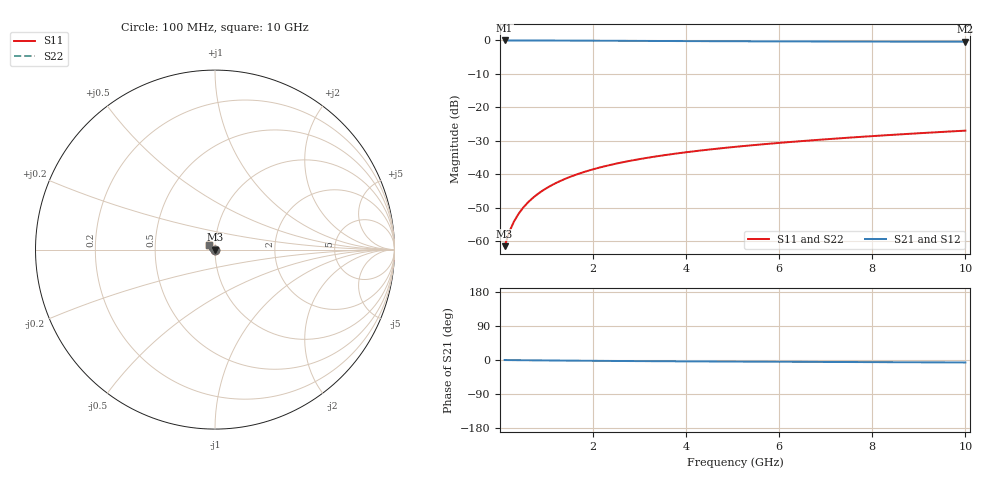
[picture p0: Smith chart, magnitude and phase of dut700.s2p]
! Touchstone file exported from HFSS 2024.1.0
!  File:  C:/UserFiles/LocalFiles/RDL_TSV_Batchsim/temp_TSV1_700_1779866344.aedt
!  Generated:  03:26:09 PM May 27, 2026
!  Design:  TSV1
!  Project:  temp_TSV1_700_1779866344
!  Setup:  Setup1
!  Solution:  Sweep
! Variables:
!  dtsv = 5.33um
!  hbump = 3um
!  htsv = 99.35um
!  lrdl = 252.1521522um
!  p = 40
!  p1 = 47.33um
!  t = 500um
!  trdl = 3um
!  wrdl = 24.89489489um
# GHz S MA R 50.000000
! Terminal data exported
! Port[1] = TSV22_T1
! Port[2] = TSV22_T2
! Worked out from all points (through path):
!   100 points, 100 MHz to 10 GHz, reference 50 ohm
!   highest |S21| = -0.01 dB at 100 MHz (marker M1); lowest = -0.4 dB at 10 GHz (marker M2)
!   lowest |S11| = -61.6 dB at 100 MHz (marker M3), VSWR 1.00, Z = 50.1 - j0.0633 ohm
!   |S11| at or under -10 dB: start of sweep to end of sweep
!   |S22| runs from -61.6 to -27.0 dB; largest |S21 - S12| = 3.3e-15
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0.1  0.0008348 -49.2  0.9994 -0.1  0.9994 -0.1  0.0008348 -49.2
! Gamma 0 0 0 0
! Port Impedance 50 0 50 0
0.2  0.001364 -69.5  0.9993 -0.2  0.9993 -0.2  0.001364 -69.5
0.3  0.001949 -79.4  0.9992 -0.4  0.9992 -0.4  0.001949 -79.4
0.4  0.002549 -85.8  0.999 -0.5  0.999 -0.5  0.002549 -85.8
0.5  0.003154 -90.5  0.9988 -0.6  0.9988 -0.6  0.003154 -90.5
0.6  0.00376 -94.5  0.9985 -0.7  0.9985 -0.7  0.00376 -94.5
0.7  0.004365 -97.9  0.9982 -0.8  0.9982 -0.8  0.004365 -97.9
0.8  0.004967 -101.0  0.9979 -0.9  0.9979 -0.9  0.004967 -101.0
0.9  0.005566 -103.9  0.9975 -1.0  0.9975 -1.0  0.005566 -103.9
1.1  0.00675 -109.2  0.9966 -1.3  0.9966 -1.3  0.00675 -109.2
1.4  0.008486 -116.5  0.995 -1.6  0.995 -1.6  0.008486 -116.5
1.6  0.009613 -121.0  0.9938 -1.8  0.9938 -1.8  0.009613 -121.0
1.8  0.01071 -125.4  0.9925 -2.0  0.9925 -2.0  0.01071 -125.4
2.1  0.01231 -131.5  0.9905 -2.2  0.9905 -2.2  0.01231 -131.5
2.5  0.01435 -139.2  0.9877 -2.6  0.9877 -2.6  0.01435 -139.2
2.9  0.0163 -146.4  0.9849 -2.9  0.9849 -2.9  0.0163 -146.4
3.4  0.0186 -154.6  0.9815 -3.2  0.9815 -3.2  0.0186 -154.6
4.2  0.02207 -166.3  0.9765 -3.7  0.9765 -3.7  0.02207 -166.3
5.1  0.02575 -177.5  0.9717 -4.2  0.9717 -4.2  0.02575 -177.5
6.7  0.03202 166.4  0.9651 -5.0  0.9651 -5.0  0.03202 166.4
8.4  0.03855 153.5  0.9602 -5.8  0.9602 -5.8  0.03855 153.5
10  0.0447 143.9  0.9569 -6.5  0.9569 -6.5  0.0447 143.9
